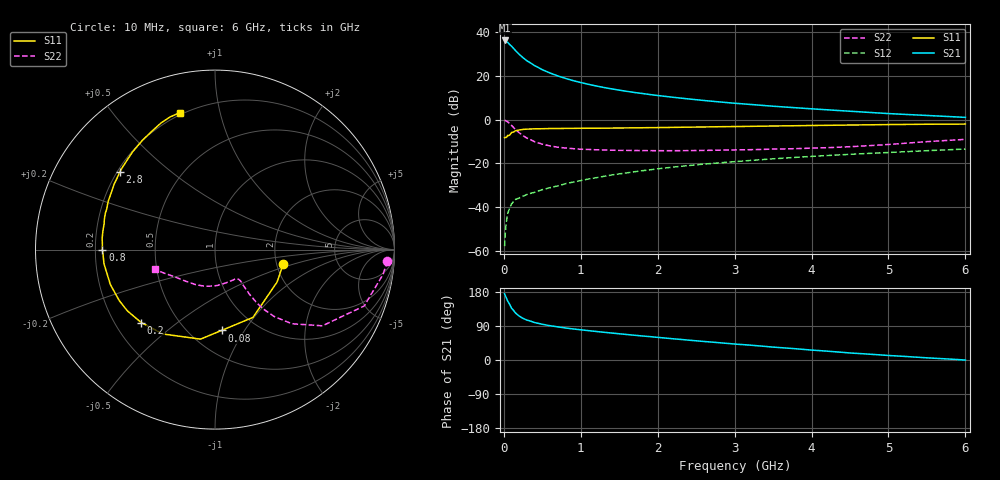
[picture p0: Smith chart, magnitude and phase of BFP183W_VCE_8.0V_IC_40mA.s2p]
! Infineon Technologies  Discrete & RF Semiconductors
! BFP183W
! VCE =  8.0 V,  IC =  40 mA
! Common Emitter S-Parameters:  Jan 2017
# GHz  S  MA  R  50
!  f  S11  S21  S12  S22
! GHz  MAG  ANG  MAG  ANG  MAG  ANG  MAG  ANG
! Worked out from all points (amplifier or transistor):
!   77 points, 10 MHz to 6 GHz, reference 50 ohm
!   highest |S21| = 36.0 dB at 10 MHz (marker M1)
!   |S21| within 3 dB of that: start of sweep to 109.9 MHz
!   unconditionally stable (mu >= 1): 856.2 MHz to 3.353 GHz
!   at 130 MHz: K = 0.34, MSG = 34.8 dB, |S12| = -37.3 dB
!   at 2.2 GHz: K = 1.06, MAG = 14.4 dB, |S12| = -21.7 dB
!   at 6 GHz: K = 0.85, MSG = 7.2 dB, |S12| = -13.5 dB
!   S11 on the Smith chart (normalised r, x): 10 MHz: 2.17, -0.42; 80 MHz: 0.70, -0.80; 200 MHz: 0.31, -0.38; 800 MHz: 0.23, -0.00; 2.8 GHz: 0.21, +0.34; 6 GHz: 0.19, +0.76
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0.01  0.3882 -12.1  63.3 174.8  0.0013 77.9  0.962 -3.8
0.02  0.3903 -27.6  62.16 169.3  0.0028 92.2  0.9465 -8.4
0.05  0.433 -60.8  57.38 155.3  0.0071 71.5  0.8886 -20.7
0.08  0.452 -85.4  50.35 145.0  0.01 64.8  0.7891 -28.8
0.1  0.5054 -99.2  46.79 136.6  0.0119 62.1  0.7335 -35.4
0.15  0.5525 -121.7  37.49 124.4  0.015 52.6  0.5946 -44.0
0.2  0.5781 -135.3  30.53 115.8  0.0163 50.7  0.4979 -48.5
0.25  0.5957 -145.0  25.56 109.7  0.0179 49.4  0.4281 -50.8
0.3  0.6043 -151.9  21.82 105.3  0.0196 49.7  0.3771 -51.9
0.4  0.6146 -161.5  16.87 98.8  0.022 53.5  0.3118 -52.3
0.5  0.6167 -167.7  13.64 94.2  0.0252 53.7  0.2743 -51.9
0.6  0.6234 -172.6  11.48 90.5  0.028 57.1  0.2502 -51.5
0.7  0.6238 -176.4  9.869 87.5  0.0306 59.3  0.2342 -50.9
0.8  0.6275 -180.0  8.67 84.5  0.0344 61.6  0.2243 -50.8
1.1  0.6325 172.0  6.339 77.5  0.0441 63.3  0.2079 -52.1
1.5  0.6412 163.4  4.662 69.2  0.0577 64.5  0.1981 -56.7
2.1  0.6582 151.9  3.363 57.9  0.0787 63.2  0.1947 -68.6
2.8  0.685 140.6  2.518 45.6  0.1029 60.3  0.2004 -86.8
3.1  0.6947 136.1  2.278 40.7  0.113 58.4  0.2039 -94.9
4.1  0.7338 122.5  1.709 24.8  0.1476 52.6  0.2251 -121.7
5.1  0.7696 112.1  1.338 10.8  0.1806 46.1  0.2782 -147.9
6  0.7876 104.3  1.118 -0.1  0.2124 39.9  0.3529 -161.9
